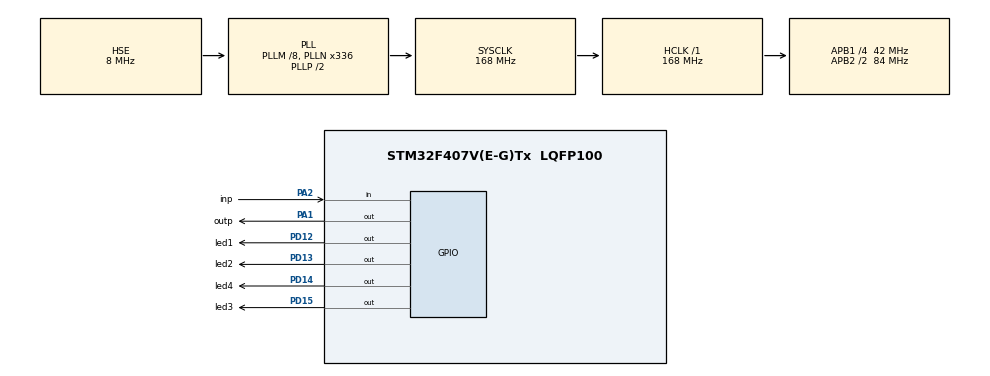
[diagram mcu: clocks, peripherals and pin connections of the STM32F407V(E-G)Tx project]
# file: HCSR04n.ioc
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Mcu.Family=STM32F4
Mcu.Name=STM32F407V(E-G)Tx
Mcu.Package=LQFP100
NVIC.PriorityGroup=NVIC_PRIORITYGROUP_0
NVIC.RCC_IRQn=true\:0\:0\:false\:false\:true\:true\:false\:true
PA1.GPIO_Label=outp
PA1.Signal=GPIO_Output
PA13.Mode=Serial_Wire
PA13.Signal=SYS_JTMS-SWDIO
PA14.Mode=Serial_Wire
PA14.Signal=SYS_JTCK-SWCLK
PA2.GPIO_Label=inp
PA2.Signal=GPIO_Input
PD12.GPIO_Label=led1
PD12.Signal=GPIO_Output
PD13.GPIO_Label=led2
PD13.Signal=GPIO_Output
PD14.GPIO_Label=led4
PD14.Signal=GPIO_Output
PD15.GPIO_Label=led3
PD15.Signal=GPIO_Output
PH0-OSC_IN.Mode=HSE-External-Oscillator
PH0-OSC_IN.Signal=RCC_OSC_IN
PH1-OSC_OUT.Mode=HSE-External-Oscillator
PH1-OSC_OUT.Signal=RCC_OSC_OUT
ProjectManager.HeapSize=0x200
ProjectManager.StackSize=0x400
ProjectManager.TargetToolchain=STM32CubeIDE
RCC.48MHZClocksFreq_Value=48000000
RCC.AHBFreq_Value=168000000
RCC.APB1CLKDivider=RCC_HCLK_DIV4
RCC.APB1Freq_Value=42000000
RCC.APB1TimFreq_Value=84000000
RCC.APB2CLKDivider=RCC_HCLK_DIV2
RCC.APB2Freq_Value=84000000
RCC.APB2TimFreq_Value=168000000
RCC.CortexFreq_Value=168000000
RCC.HCLKFreq_Value=168000000
RCC.HSE_VALUE=8000000
RCC.HSI_VALUE=16000000
RCC.PLLM=8
RCC.PLLN=336
RCC.PLLQ=7
RCC.PLLSourceVirtual=RCC_PLLSOURCE_HSE
RCC.SYSCLKFreq_VALUE=168000000
RCC.SYSCLKSource=RCC_SYSCLKSOURCE_PLLCLK
RCC.VCOOutputFreq_Value=336000000
board=STM32F407G-DISC1

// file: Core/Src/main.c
/* USER CODE BEGIN Header */
/**
  ******************************************************************************
  * @file           : main.c
  * @brief          : Main program body
  ******************************************************************************
  * @attention
  *
  * Copyright (c) 2024 STMicroelectronics.
  * All rights reserved.
  *
  * This software is licensed under terms that can be found in the LICENSE file
  * in the root directory of this software component.
  * If no LICENSE file comes with this software, it is provided AS-IS.
  *
  ******************************************************************************
  */
/* USER CODE END Header */
#include "main.h"

/* USER CODE BEGIN Includes */
#include "dwt_stm32_delay.h"
/* USER CODE END Includes */

/* USER CODE BEGIN PV */
uint32_t time=0;
uint32_t localTime=0;
int distance=0;
/* USER CODE END PV */

void SystemClock_Config(void);
static void MX_GPIO_Init(void);

/* USER CODE BEGIN 0 */
uint32_t Read_HCSR04(void){
	uint32_t localTime=0;

	  HAL_GPIO_WritePin(outp_GPIO_Port, outp_Pin, 1);
	  DWT_Delay_us(10);
	  HAL_GPIO_WritePin(outp_GPIO_Port, outp_Pin, 0);

	  while(HAL_GPIO_ReadPin(inp_GPIO_Port,inp_Pin)==0);

	  while(HAL_GPIO_ReadPin(inp_GPIO_Port,inp_Pin)==1){
		  localTime++;
		  DWT_Delay_us(1);
	  }
	  return localTime;
}
/* USER CODE END 0 */

int main(void)
{

  /* MCU Configuration--------------------------------------------------------*/

  /* Reset of all peripherals, Initializes the Flash interface and the Systick. */
  HAL_Init();

  /* USER CODE BEGIN Init */
  DWT_Delay_Init();
  /* USER CODE END Init */

  /* Configure the system clock */
  SystemClock_Config();

  /* Initialize all configured peripherals */
  MX_GPIO_Init();

  /* Infinite loop */
  /* USER CODE BEGIN WHILE */
  while (1)
  {
	  uint32_t Read_HCSR04(void){
		  uint32_t localTime=0;

	  	  HAL_GPIO_WritePin(outp_GPIO_Port, outp_Pin, 1);
	  	  DWT_Delay_us(10);
	  	  HAL_GPIO_WritePin(outp_GPIO_Port, outp_Pin, 0);

	  	  while(HAL_GPIO_ReadPin(inp_GPIO_Port,inp_Pin)==0);

	  	  while(HAL_GPIO_ReadPin(inp_GPIO_Port,inp_Pin)==1){
	  		  localTime++;
	  		  DWT_Delay_us(1);
	  	  }
	  	  return localTime;
	  }
    /* USER CODE END WHILE */
	  time= Read_HCSR04();
	 	     distance=time*0.034/2;

	 	     if(distance<=5){
	 	     	HAL_GPIO_WritePin(led1_GPIO_Port, led1_Pin, 1);
	 	     	HAL_Delay(10);
	 	     	HAL_GPIO_WritePin(led1_GPIO_Port, led1_Pin, 0);

	 	     }
	 	     else if(distance>5 && distance<=10){
	 	     	HAL_GPIO_WritePin(led2_GPIO_Port, led2_Pin, 1);
	 	   	HAL_Delay(10);
	 	     	HAL_GPIO_WritePin(led2_GPIO_Port, led2_Pin, 0);

	 	     }
	 	     else if(distance>10 && distance<=15){
	 	        HAL_GPIO_WritePin(led3_GPIO_Port, led3_Pin, 1);
	 	   	HAL_Delay(10);
	 	       HAL_GPIO_WritePin(led3_GPIO_Port, led3_Pin, 0);

	 	        }
	 	     else if(distance>15){

	 	        HAL_GPIO_WritePin(led4_GPIO_Port, led4_Pin, 1);
	 	   	HAL_Delay(10);
	 	       HAL_GPIO_WritePin(led4_GPIO_Port, led4_Pin, 0);

	 	        }
  }
}

void SystemClock_Config(void)
{
  RCC_OscInitTypeDef RCC_OscInitStruct = {0};
  RCC_ClkInitTypeDef RCC_ClkInitStruct = {0};

  /** Configure the main internal regulator output voltage
  */
  __HAL_RCC_PWR_CLK_ENABLE();
  __HAL_PWR_VOLTAGESCALING_CONFIG(PWR_REGULATOR_VOLTAGE_SCALE1);

  /** Initializes the RCC Oscillators according to the specified parameters
  * in the RCC_OscInitTypeDef structure.
  */
  RCC_OscInitStruct.OscillatorType = RCC_OSCILLATORTYPE_HSE;
  RCC_OscInitStruct.HSEState = RCC_HSE_ON;
  RCC_OscInitStruct.PLL.PLLState = RCC_PLL_ON;
  RCC_OscInitStruct.PLL.PLLSource = RCC_PLLSOURCE_HSE;
  RCC_OscInitStruct.PLL.PLLM = 8;
  RCC_OscInitStruct.PLL.PLLN = 336;
  RCC_OscInitStruct.PLL.PLLP = RCC_PLLP_DIV2;
  RCC_OscInitStruct.PLL.PLLQ = 7;
  if (HAL_RCC_OscConfig(&RCC_OscInitStruct) != HAL_OK)
  {
    Error_Handler();
  }

  /** Initializes the CPU, AHB and APB buses clocks
  */
  RCC_ClkInitStruct.ClockType = RCC_CLOCKTYPE_HCLK|RCC_CLOCKTYPE_SYSCLK
                              |RCC_CLOCKTYPE_PCLK1|RCC_CLOCKTYPE_PCLK2;
  RCC_ClkInitStruct.SYSCLKSource = RCC_SYSCLKSOURCE_PLLCLK;
  RCC_ClkInitStruct.AHBCLKDivider = RCC_SYSCLK_DIV1;
  RCC_ClkInitStruct.APB1CLKDivider = RCC_HCLK_DIV4;
  RCC_ClkInitStruct.APB2CLKDivider = RCC_HCLK_DIV2;

  if (HAL_RCC_ClockConfig(&RCC_ClkInitStruct, FLASH_LATENCY_5) != HAL_OK)
  {
    Error_Handler();
  }
}

static void MX_GPIO_Init(void)
{
  GPIO_InitTypeDef GPIO_InitStruct = {0};

  /* GPIO Ports Clock Enable */
  __HAL_RCC_GPIOH_CLK_ENABLE();
  __HAL_RCC_GPIOA_CLK_ENABLE();
  __HAL_RCC_GPIOD_CLK_ENABLE();

  /*Configure GPIO pin Output Level */
  HAL_GPIO_WritePin(outp_GPIO_Port, outp_Pin, GPIO_PIN_RESET);

  /*Configure GPIO pin Output Level */
  HAL_GPIO_WritePin(GPIOD, led1_Pin|led2_Pin|led4_Pin|led3_Pin, GPIO_PIN_RESET);

  /*Configure GPIO pin : outp_Pin */
  GPIO_InitStruct.Pin = outp_Pin;
  GPIO_InitStruct.Mode = GPIO_MODE_OUTPUT_PP;
  GPIO_InitStruct.Pull = GPIO_NOPULL;
  GPIO_InitStruct.Speed = GPIO_SPEED_FREQ_LOW;
  HAL_GPIO_Init(outp_GPIO_Port, &GPIO_InitStruct);

  /*Configure GPIO pin : inp_Pin */
  GPIO_InitStruct.Pin = inp_Pin;
  GPIO_InitStruct.Mode = GPIO_MODE_INPUT;
  GPIO_InitStruct.Pull = GPIO_NOPULL;
  HAL_GPIO_Init(inp_GPIO_Port, &GPIO_InitStruct);

  /*Configure GPIO pins : led1_Pin led2_Pin led4_Pin led3_Pin */
  GPIO_InitStruct.Pin = led1_Pin|led2_Pin|led4_Pin|led3_Pin;
  GPIO_InitStruct.Mode = GPIO_MODE_OUTPUT_PP;
  GPIO_InitStruct.Pull = GPIO_NOPULL;
  GPIO_InitStruct.Speed = GPIO_SPEED_FREQ_LOW;
  HAL_GPIO_Init(GPIOD, &GPIO_InitStruct);

}

void Error_Handler(void)
{
  __disable_irq();
  while (1)
  {
  }
}
